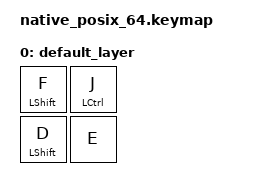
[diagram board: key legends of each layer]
#include <dt-bindings/zmk/keys.h>
#include <behaviors.dtsi>
#include <dt-bindings/zmk/kscan_mock.h>

/ {
    behaviors {
        blht: behavior_bilateral_linger_hold_tap {
            compatible = "zmk,behavior-hold-tap";
            enforce-bilateral;
            #binding-cells = <2>;
            flavor = "tap-preferred";
            tapping-term-ms = <200>;
            linger-ms = <150>;
            bindings = <&kp>, <&kp>;
            hold-trigger-key-positions = <2>;
            hold-trigger-on-release;
        };
    };

    keymap {
        compatible = "zmk,keymap";
        default_layer {
            bindings = <
                &blht LSHIFT F &blht LCTRL J
                &mt LSHIFT D &kp E
            >;
        };
    };
};

&kscan {
    events = <
        ZMK_MOCK_PRESS(0, 0, 10)
        ZMK_MOCK_PRESS(1, 1, 250)
        ZMK_MOCK_RELEASE(1, 1, 10)
        ZMK_MOCK_RELEASE(0, 0, 10)
    >;
};
